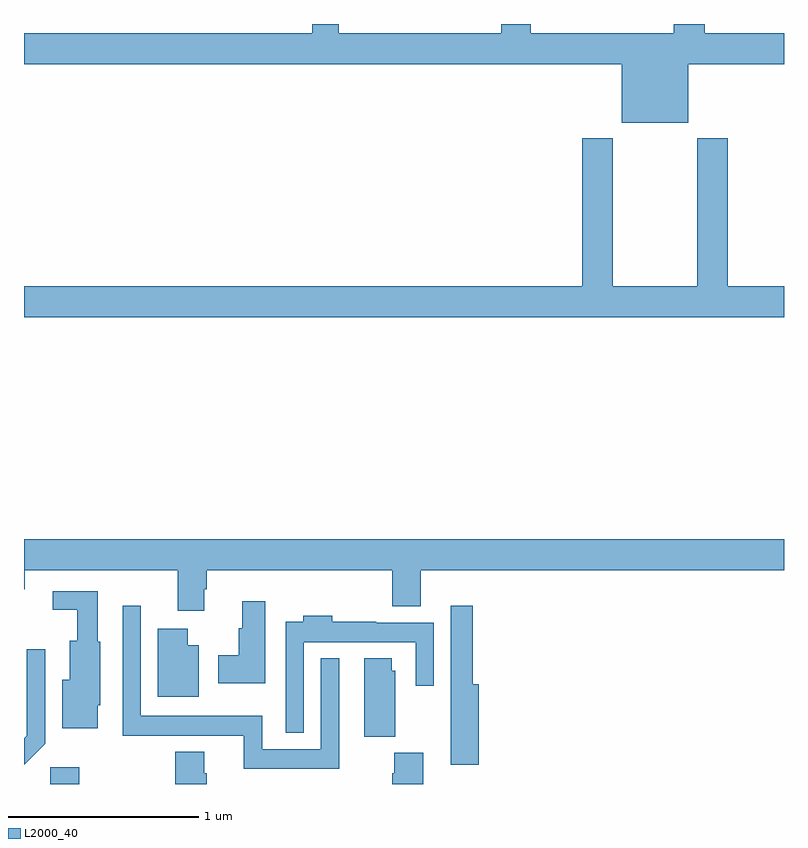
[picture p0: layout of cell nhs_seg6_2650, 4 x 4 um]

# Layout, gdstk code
import gdstk
lib = gdstk.Library(unit=1e-6, precision=1e-09)
def R(c, l, rs):  # rectangles x0, y0, x1, y1
    for r in rs: c.add(gdstk.rectangle(r[:2], r[2:], *l))
def P(c, l, *ps):  # polygons
    for p in ps: c.add(gdstk.Polygon(p, *l))
L2000_40 = (2000, 40)

nhs_seg6_2650 = lib.new_cell('nhs_seg6_2650')
R(nhs_seg6_2650, L2000_40, [(267.138,991.5,267.29,991.588)])
P(nhs_seg6_2650, L2000_40, [(270.496,995.288),(271,995.288),(271,995.452),(270.584,995.452),(270.584,995.5),(270.419,995.5),(270.419,995.452),(269.666,995.452),(269.666,995.5),(269.513,995.5),(269.513,995.452),(268.657,995.452),(268.657,995.5),(268.518,995.5),(268.518,995.452),(267,995.452),(267,995.288),(270.146,995.288),(270.146,994.979),(270.496,994.979)],
  [(271,994.12),(270.704,994.12),(270.704,994.9),(270.544,994.9),(270.544,994.12),(270.099,994.12),(270.099,994.9),(269.939,994.9),(269.939,994.12),(267,994.12),(267,993.956),(271,993.956)],
  [(267.949,992.526),(267.962,992.526),(267.962,992.624),(268.937,992.624),(268.937,992.435),(269.089,992.435),(269.089,992.624),(271,992.624),(271,992.788),(267,992.788),(267,992.526),(267.004,992.526),(267.004,992.624),(267.809,992.624),(267.809,992.412),(267.949,992.412)],
  [(267.388,991.914),(267.4,991.914),(267.4,992.25),(267.388,992.25),(267.388,992.514),(267.15,992.514),(267.15,992.417),(267.279,992.417),(267.279,992.254),(267.242,992.254),(267.242,992.05),(267.2,992.05),(267.2,991.793),(267.388,991.793)],
  [(268.27,992.461),(268.148,992.461),(268.148,992.319),(268.13,992.319),(268.13,992.178),(268.023,992.178),(268.023,992.03),(268.27,992.03)],
  [(268.66,992.161),(268.563,992.161),(268.563,991.684),(268.254,991.684),(268.254,991.858),(267.615,991.858),(267.615,992.437),(267.519,992.437),(267.519,991.754),(268.157,991.754),(268.157,991.58),(268.66,991.58)],
  [(269.393,992.026),(269.363,992.026),(269.363,992.437),(269.247,992.437),(269.247,991.922),(269.246,991.922),(269.246,991.602),(269.393,991.602)],
  [(268.473,992.246),(269.061,992.246),(269.061,992.016),(269.157,992.016),(269.157,992.35),(268.853,992.35),(268.853,992.353),(268.622,992.353),(268.622,992.386),(268.469,992.386),(268.469,992.353),(268.377,992.353),(268.377,991.769),(268.473,991.769)],
  [(267.919,992.23),(267.862,992.23),(267.862,992.317),(267.704,992.317),(267.704,991.958),(267.919,991.958)],
  [(267.111,991.713),(267.111,992.209),(267.015,992.209),(267.015,991.755),(267,991.74),(267,991.602)],
  [(268.954,992.097),(268.936,992.097),(268.936,992.161),(268.79,992.161),(268.79,991.75),(268.954,991.75)],
  [(267.962,991.557),(267.949,991.557),(267.949,991.669),(267.797,991.669),(267.797,991.5),(267.962,991.5)],
  [(269.102,991.665),(268.949,991.665),(268.949,991.556),(268.937,991.556),(268.937,991.5),(269.102,991.5)])

lib.write_gds('nhs_seg6_2650.gds')
